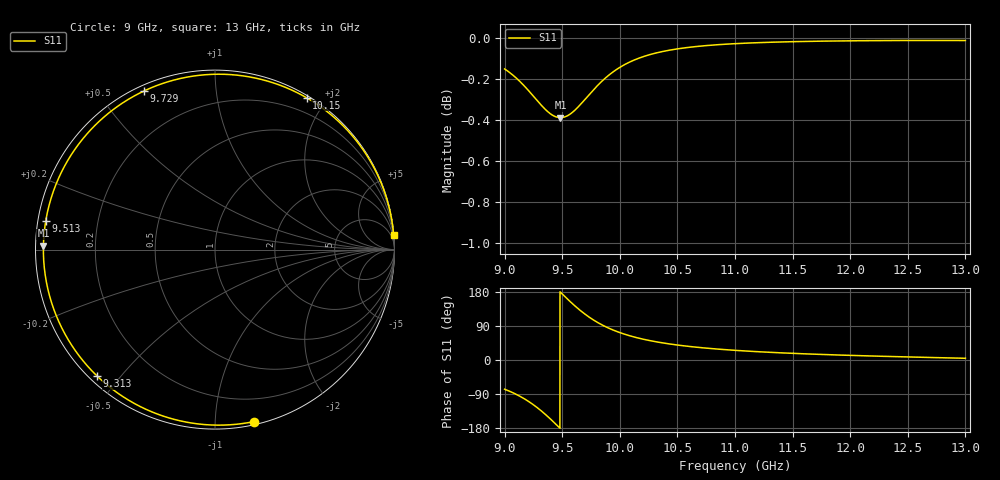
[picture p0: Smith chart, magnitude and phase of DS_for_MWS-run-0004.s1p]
! TOUCHSTONE file generated by CST DESIGN STUDIO
! Date and time: Tue Feb  4 13:23:53 2025
! Project name: C:\Work\MatlabApps\UnitCellOptimizationMatlab\CST\unitcell.cst
! Tree item: Tasks\Sweep1\SPara1\S-Parameters
! Header version: 2024
! Port assignment regex: !\s*Touchstone port\s*([0-9]+)\s*=\s*(CST MWS port|CST DES external port|CST DES block port)\s*(.+)\s* \(\"(.*)\"\)(\s*mode\s*([0-9]+))?.*
! Touchstone port assignment:
! Touchstone port 1 = CST DES external port 1 ("")
# GHz S MA R 50
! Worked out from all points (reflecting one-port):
!   4001 points, 9 GHz to 13 GHz, reference 50 ohm
!   lowest |S11| = -0.4 dB at 9.485 GHz (marker M1), VSWR 44.65, Z = 1.12 + j0.554 ohm
!   phase of S11 starts at -77 deg and turns -278 deg over the sweep
!   S11 on the Smith chart (normalised r, x): 9 GHz: 0.02, -1.26; 9.313 GHz: 0.02, -0.44; 9.513 GHz: 0.02, +0.08; 9.729 GHz: 0.02, +0.65; 10.15 GHz: 0.02, +1.77; 13 GHz: 1, +25
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9  0.9826 -77.1
9.08  0.9788 -87.5
9.179  0.9728 -103.8
9.248  0.9679 -117.7
9.313  0.9632 -132.9
9.358  0.9603 -144.7
9.406  0.9579 -158.1
9.446  0.9566 -169.7
9.485  0.9562 178.7
9.5  0.9562 174.3
9.513  0.9564 170.4
9.565  0.9579 155.3
9.625  0.9611 138.9
9.676  0.9645 126.1
9.729  0.9682 114.2
9.783  0.972 103.4
9.844  0.9758 92.9
9.921  0.98 81.7
10  0.9835 72.3
10.147  0.9881 58.9
10.307  0.9913 48.5
10.5  0.9937 39.5
10.722  0.9954 32.1
11  0.9966 25.5
11.5  0.9977 17.5
12  0.9982 12.2
12.5  0.9984 8.1
13  0.9984 4.5
